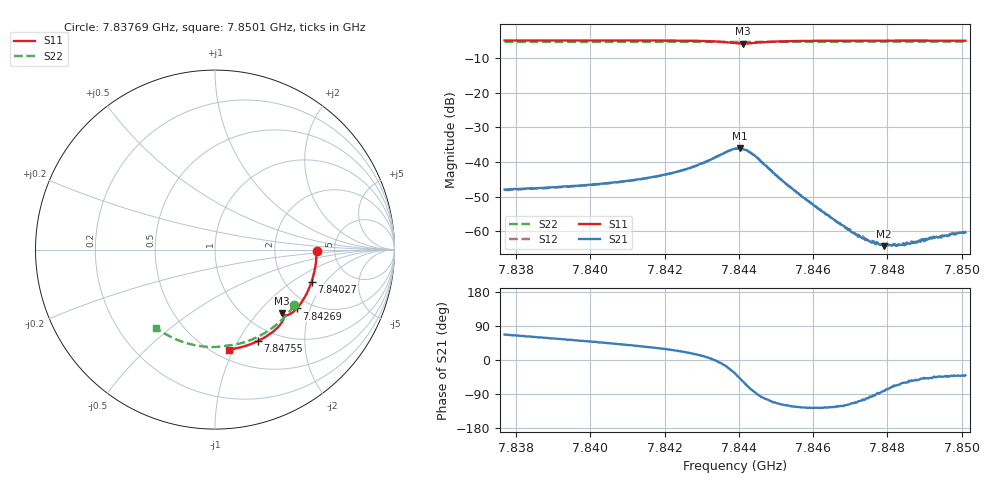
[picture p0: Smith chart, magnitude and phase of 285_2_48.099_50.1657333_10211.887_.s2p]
#  HZ  S  RI  R  50.00
! Rohde & Schwarz Vector Network Analyzer
! Rohde-Schwarz,ZNB20-2Port,1311601062101988,3.16
! Created: UTC 12/23/2023, 4:03:11 AM
! freq[Hz]  re:S11  im:S11  re:S21  im:S21  re:S12  im:S12  re:S22  im:S22
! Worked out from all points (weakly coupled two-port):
!   401 points, 7.83769 GHz to 7.8501 GHz, reference 50 ohm
!   highest |S21| = -35.96 dB at 7.84402 GHz (marker M1); lowest = -64.2 dB at 7.8479 GHz (marker M2)
!   lowest |S11| = -5.8 dB at 7.84411 GHz (marker M3), VSWR 3.10, Z = 71 - j67.9 ohm
!   |S11| at or under -10 dB: nowhere
!   |S22| runs from -5.4 to -5.3 dB; largest |S21 - S12| = 0.00032
!   S11 on the Smith chart (normalised r, x): 7.83769 GHz: 3.61, -0.11; 7.84027 GHz: 2.76, -1.46; 7.84269 GHz: 1.70, -1.63; 7.84755 GHz: 0.81, -1.21; 7.8501 GHz: 0.59, -0.96
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7.837695e9  0.5663 -0.0103  0.00156 0.00371  0.00158 0.00361  0.4413 -0.311
7.839772e9  0.5475 -0.1474  0.00292 0.00357  0.00292 0.00353  0.343 -0.4177
7.840268e9  0.5377 -0.1793  0.00335 0.00351  0.00334 0.0035  0.3157 -0.4392
7.84185e9  0.4923 -0.2781  0.00543 0.00326  0.00538 0.00328  0.2197 -0.4948
7.842687e9  0.4562 -0.3277  0.00785 0.00261  0.00782 0.00263  0.1646 -0.5158
7.843431e9  0.4085 -0.3635  0.0121 -0.00088  0.0121 -0.000787  0.1137 -0.5285
7.843896e9  0.374 -0.3617  0.0128 -0.00904  0.0127 -0.00895  0.0826 -0.5325
7.84402e9  0.3709 -0.3561  0.0107 -0.0118  0.0106 -0.0115  0.0749 -0.5336
7.844113e9  0.3714 -0.353  0.00845 -0.0129  0.00842 -0.0129  0.069 -0.5344
7.844299e9  0.3776 -0.3525  0.00358 -0.0133  0.00378 -0.0133  0.0573 -0.5365
7.844454e9  0.3827 -0.3591  0.00062 -0.0121  0.000533 -0.012  0.0471 -0.5381
7.845291e9  0.365 -0.4163  -0.00235 -0.00413  -0.00239 -0.00416  -0.0117 -0.5427
7.845974e9  0.3301 -0.4518  -0.00148 -0.00202  -0.00148 -0.00202  -0.0599 -0.5404
7.847152e9  0.2623 -0.4975  -0.00035 -0.000831  -0.000341 -0.000848  -0.1415 -0.5257
7.847555e9  0.238 -0.5101  -8.96e-05 -0.000695  -7.03e-05 -0.000728  -0.1687 -0.5178
7.847896e9  0.2169 -0.5194  8.79e-05 -0.000608  7.46e-05 -0.000665  -0.1913 -0.5102
7.848051e9  0.2072 -0.5233  0.000161 -0.00061  0.000176 -0.000612  -0.2014 -0.5063
7.848423e9  0.1838 -0.532  0.000323 -0.000565  0.000313 -0.000601  -0.2254 -0.4963
7.848609e9  0.1721 -0.536  0.000369 -0.000551  0.000362 -0.000589  -0.2374 -0.491
7.848764e9  0.1621 -0.5389  0.000437 -0.00056  0.0004 -0.000552  -0.2472 -0.4862
7.84926e9  0.1301 -0.5476  0.000584 -0.000556  0.000582 -0.000551  -0.2777 -0.4695
7.850098e9  0.0752 -0.5574  0.000743 -0.000634  0.000763 -0.00064  -0.3267 -0.4373
